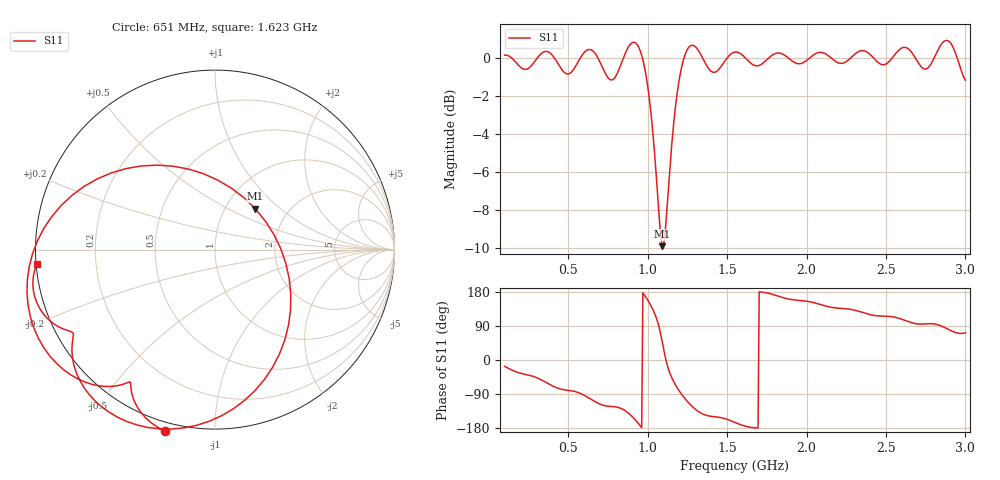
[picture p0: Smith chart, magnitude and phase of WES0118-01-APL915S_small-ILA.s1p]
! openEMS-z2labs kicad_sim, WES0118-01-APL915S_small-ILA.kicad_pcb
! ports: 1=SMA8 (F.Cu over B.Cu)
! stackup: file
! copper: sheet, mask: False
# Hz S RI R 50
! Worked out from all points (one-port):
!   401 points, 100 MHz to 3 GHz, reference 50 ohm
!   lowest |S11| = -9.9 dB at 1.093 GHz (marker M1), VSWR 1.94, Z = 68.8 + j34.8 ohm
!   |S11| at or under -10 dB: nowhere
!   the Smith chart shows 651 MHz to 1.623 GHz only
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1e8  0.9743 -0.2971
3.755e8  0.4779 -0.9218
4.625e8  0.1992 -0.9088
5.5675e8  0.0857 -0.9647
6.22e8  -0.1505 -1.041
6.945e8  -0.4223 -0.8935
7.5975e8  -0.4699 -0.7445
8.25e8  -0.5618 -0.7609
8.9025e8  -0.8826 -0.6345
9.265e8  -1.028 -0.3754
9.6275e8  -1.017 -0.023
9.99e8  -0.7966 0.3023
1.03525e9  -0.4112 0.466
1.09325e9  0.2249 0.2272
1.13675e9  0.4223 -0.2504
1.1875e9  0.2227 -0.7857
1.2455e9  -0.3069 -0.999
1.31075e9  -0.7275 -0.7719
1.38325e9  -0.7926 -0.5046
1.55e9  -1.002 -0.271
1.9125e9  -0.9165 0.3502
2.275e9  -0.6925 0.7199
2.6375e9  -0.2159 1.038
2.7535e9  -0.0879 0.9326
2.81875e9  -0.0689 1.031
2.884e9  0.1428 1.104
2.942e9  0.3154 0.9698
3e9  0.2719 0.8317
